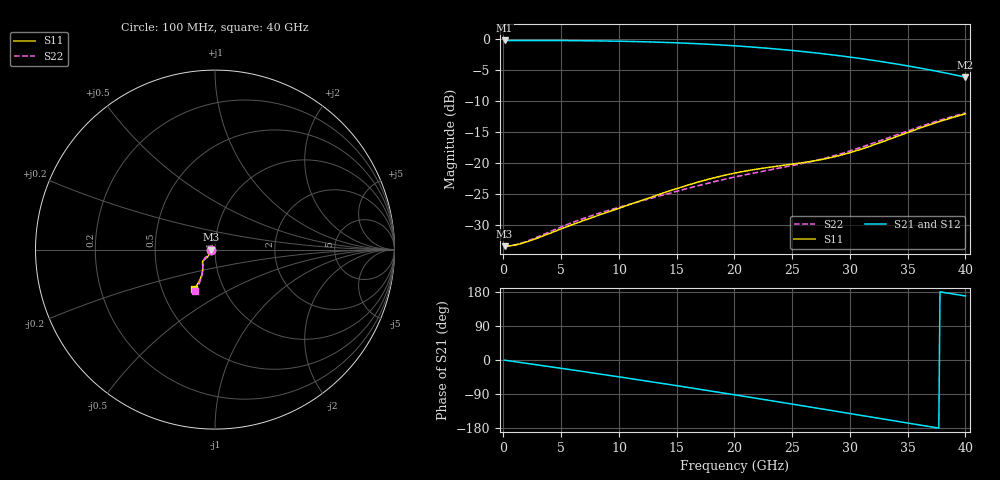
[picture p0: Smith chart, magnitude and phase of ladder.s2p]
! E_s8_L1L8_p1000_oval_g0: via ladder as kisi uses it (kisi_si::via_pbm, graded grid, junction model), differential mode (per line 50 ohm)
# Hz S RI R 50
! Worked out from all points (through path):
!   400 points, 100 MHz to 40 GHz, reference 50 ohm
!   highest |S21| = -0.19 dB at 100 MHz (marker M1); lowest = -6.1 dB at 40 GHz (marker M2)
!   group delay of S21, straight-line fit = 13.4 ps
!   lowest |S11| = -33.5 dB at 100 MHz (marker M3), VSWR 1.04, Z = 47.9 - j0.0313 ohm
!   |S11| at or under -10 dB: start of sweep to end of sweep
!   |S22| runs from -33.5 to -11.9 dB; largest |S21 - S12| = 0
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1e8  -0.0212 -0.000326  0.9788 -0.00744  0.9788 -0.00744  -0.0212 -0.00033
1.5e9  -0.0217 -0.00481  0.9723 -0.1114  0.9723 -0.1114  -0.0218 -0.00486
3.5e9  -0.0235 -0.0107  0.9434 -0.258  0.9434 -0.258  -0.0242 -0.0107
5.1e9  -0.0255 -0.015  0.9033 -0.3716  0.9033 -0.3716  -0.027 -0.0146
6.8e9  -0.0278 -0.0193  0.8442 -0.4863  0.8442 -0.4863  -0.0302 -0.0182
8.5e9  -0.0303 -0.0237  0.7687 -0.5921  0.7687 -0.5921  -0.0335 -0.0215
1.03e10  -0.0333 -0.0286  0.6719 -0.6915  0.6719 -0.6915  -0.0369 -0.025
1.34e10  -0.0401 -0.0381  0.4712 -0.8228  0.4712 -0.8228  -0.0432 -0.0319
1.51e10  -0.0449 -0.0434  0.3474 -0.8691  0.3474 -0.8691  -0.0469 -0.0362
1.68e10  -0.0502 -0.0484  0.218 -0.895  0.218 -0.895  -0.0509 -0.0408
1.85e10  -0.0559 -0.0529  0.0868 -0.8996  0.0868 -0.8996  -0.0549 -0.0456
2.01e10  -0.0608 -0.0565  -0.0347 -0.8842  -0.0347 -0.8842  -0.0585 -0.0504
2.16e10  -0.0646 -0.0598  -0.1439 -0.8529  -0.1439 -0.8529  -0.0614 -0.0552
2.32e10  -0.0675 -0.0636  -0.2522 -0.8027  -0.2522 -0.8027  -0.0637 -0.0611
2.5e10  -0.069 -0.0691  -0.3604 -0.7279  -0.3604 -0.7279  -0.0653 -0.0691
2.67e10  -0.0691 -0.0766  -0.4464 -0.6425  -0.4464 -0.6425  -0.066 -0.0789
2.84e10  -0.0684 -0.0871  -0.5142 -0.5462  -0.5142 -0.5462  -0.0664 -0.0911
3e10  -0.0682 -0.1001  -0.5603 -0.4493  -0.5603 -0.4493  -0.0671 -0.1053
3.17e10  -0.0693 -0.1171  -0.5898 -0.3434  -0.5898 -0.3434  -0.0691 -0.1231
3.34e10  -0.073 -0.137  -0.5997 -0.2386  -0.5997 -0.2386  -0.0729 -0.1432
3.65e10  -0.088 -0.1768  -0.5718 -0.0624  -0.5718 -0.0624  -0.0862 -0.1835
4e10  -0.1167 -0.2203  -0.4852 0.0944  -0.4852 0.0944  -0.1098 -0.2288
